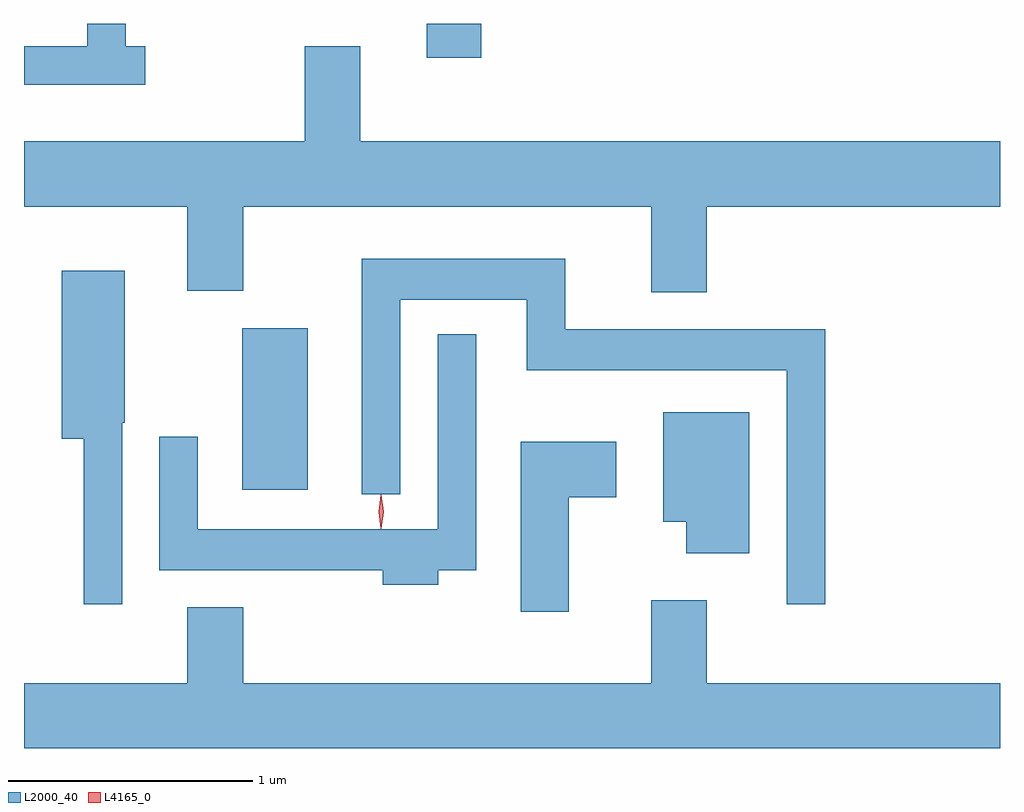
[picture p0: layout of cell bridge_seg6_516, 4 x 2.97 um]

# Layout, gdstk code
import gdstk
lib = gdstk.Library(unit=1e-6, precision=1e-09)
def R(c, l, rs):  # rectangles x0, y0, x1, y1
    for r in rs: c.add(gdstk.rectangle(r[:2], r[2:], *l))
def P(c, l, *ps):  # polygons
    for p in ps: c.add(gdstk.Polygon(p, *l))
L2000_40 = (2000, 40)
L4165_0 = (4165, 0)

bridge_seg6_516 = lib.new_cell('bridge_seg6_516')
R(bridge_seg6_516, L2000_40, [(537.536,1650.996,537.804,1651.659), (538.291,1652.766,538.514,1652.907)])
P(bridge_seg6_516, L2000_40, [(537.138,1652.814),(537.059,1652.814),(537.059,1652.907),(536.901,1652.907),(536.901,1652.814),(536.641,1652.814),(536.641,1652.656),(537.138,1652.656)],
  [(539.439,1652.156),(540.641,1652.156),(540.641,1652.424),(538.019,1652.424),(538.019,1652.814),(537.791,1652.814),(537.791,1652.424),(536.641,1652.424),(536.641,1652.156),(537.311,1652.156),(537.311,1651.811),(537.539,1651.811),(537.539,1652.156),(539.211,1652.156),(539.211,1651.806),(539.439,1651.806)],
  [(539.924,1651.654),(538.859,1651.654),(538.859,1651.944),(538.026,1651.944),(538.026,1650.978),(538.184,1650.978),(538.184,1651.776),(538.701,1651.776),(538.701,1651.486),(539.766,1651.486),(539.766,1650.528),(539.924,1650.528)],
  [(537.044,1651.27),(537.054,1651.27),(537.054,1651.894),(536.796,1651.894),(536.796,1651.206),(536.886,1651.206),(536.886,1650.528),(537.044,1650.528)],
  [(538.339,1650.666),(538.494,1650.666),(538.494,1651.633),(538.336,1651.633),(538.336,1650.834),(537.354,1650.834),(537.354,1651.213),(537.196,1651.213),(537.196,1650.666),(538.111,1650.666),(538.111,1650.606),(538.339,1650.606)],
  [(539.614,1651.314),(539.261,1651.314),(539.261,1650.866),(539.356,1650.866),(539.356,1650.736),(539.614,1650.736)],
  [(538.874,1650.966),(539.069,1650.966),(539.069,1651.194),(538.676,1651.194),(538.676,1650.496),(538.874,1650.496)],
  [(540.641,1650.204),(539.439,1650.204),(539.439,1650.544),(539.211,1650.544),(539.211,1650.204),(537.539,1650.204),(537.539,1650.514),(537.311,1650.514),(537.311,1650.204),(536.641,1650.204),(536.641,1649.936),(540.641,1649.936)])
P(bridge_seg6_516, L4165_0, [(538.104,1650.837),(538.095,1650.906),(538.104,1650.976),(538.105,1650.976),(538.106,1650.976),(538.115,1650.906),(538.106,1650.837),(538.105,1650.837)],
  [(538.104,1650.839),(538.103,1650.84),(538.094,1650.906),(538.103,1650.972),(538.104,1650.973),(538.104,1650.972),(538.114,1650.906),(538.104,1650.84)])

lib.write_gds('bridge_seg6_516.gds')
